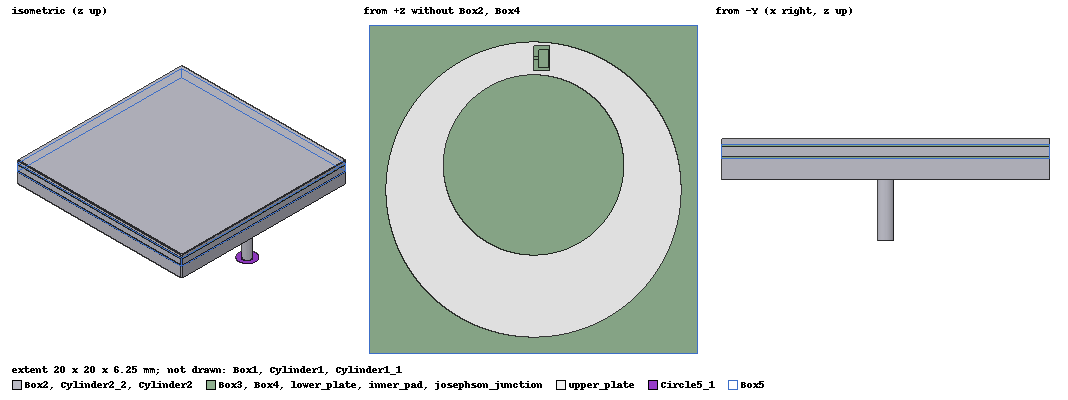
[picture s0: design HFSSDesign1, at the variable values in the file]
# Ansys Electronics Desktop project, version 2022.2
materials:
  vacuum: permittivity=1
  perfect conductor: conductivity=1e+30
  sapphire: permittivity=10
  aluminum: permeability=1.000021 conductivity=38000000
  gallium_arsenide: permittivity=12.9
  alumina_92pct: permittivity=9.2 dielectric_loss_tangent=0.008

design HFSSDesign1 (HFSS, Eigenmode, model units mm)
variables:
  pad_x = 20mm
  pad_y = 20mm
  pad_z = 10mm
  radius1 = 9mm
  epsilon = 0.5mm
  offset = 0.5mm
  rect_x = 1mm
  radius2 = 5.5mm
  shift = 1.5mm
  offset_rect_pad = 0.2mm
  jj_y = 0.2mm
  Lj = 10nH
  radius3 = 1mm
  height = 3.75mm
  radius4 = 0.5mm
  offset_z = -0.1mm
  Cj = 5pF
  delta = 0.1mm
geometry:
  Box1 [vacuum] = box(corner=(-pad_x/2, -pad_y/2, -pad_z/2), size=(pad_x + delta, pad_y + delta, pad_z + delta))
  Box2 [perfect conductor] = box(corner=(-pad_x/2, -pad_y/2, -pad_z/8), size=(pad_x, pad_y, pad_z/4))
  upper_plate [alumina_92pct] = circle(normal=Z, centre=(0mm, 0mm, pad_z/8-epsilon), radius=radius1)
  Circle2 = circle(normal=Z, centre=(0mm, shift, pad_z/8-epsilon), radius=radius2)
  upper_plate.subtract(Circle2)
  Rectangle1 = rectangle(corner=(0, radius2 + shift + offset /2, pad_z/8-epsilon), x_size=rect_x, y_size=radius1-radius2-shift-offset)
  upper_plate.subtract(Rectangle1)
  Box3 [sapphire] = box(corner=(-pad_x/2, -pad_y/2, pad_z/16 - epsilon - epsilon/4), size=(pad_x, pad_y, epsilon/4))
  lower_plate [alumina_92pct] = circle(normal=Z, centre=(0mm, 0mm, (pad_z/16-epsilon)), radius=radius1)
  Circle4 = circle(normal=Z, centre=(0mm, shift, (pad_z/16-epsilon)), radius=radius2)
  lower_plate.subtract(Circle4)
  inner_pad [alumina_92pct] = rectangle(corner=(rect_x /2- offset_rect_pad, radius2 + shift + offset /2 + offset_rect_pad, pad_z/8-epsilon), x_size=rect_x - offset_rect_pad*2, y_size=radius1-radius2-shift-offset - offset_rect_pad*2)
  josephson_junction [gallium_arsenide] = rectangle(corner=(rect_x /2- offset_rect_pad, radius2 + shift + offset /2 + offset_rect_pad  +(radius1-radius2-shift-offset - offset_rect_pad*2)/2 - jj_y /2, pad_z/8-epsilon), x_size=-offset_rect_pad - offset_rect_pad/2, y_size=jj_y)
  Box4 [sapphire] = box(corner=(-pad_x/2, -pad_y/2, pad_z/16+epsilon/4), size=(pad_x, pad_y, epsilon/4))
  Box5 [vacuum] = box(corner=(-pad_x/2, -pad_y/2, pad_z/16 - epsilon - epsilon/4), size=(pad_x, pad_y, 7*epsilon/4))
  Cylinder1 [vacuum] = cylinder(axis=Z, base_centre=(0, -pad_y/4, -pad_z/2), radius=radius3, height=height)
  Cylinder2 [perfect conductor] = cylinder(axis=Z, base_centre=(0mm, -pad_y/4, -pad_z/2), radius=radius4, height=height)
  Cylinder2_1 = Cylinder2.copy()
  Cylinder1.subtract(Cylinder2_1)
  Cylinder1_1 [vacuum] = Cylinder1.duplicate_along_line(step=(0mm, 13mm, 0mm), total=2)
  Cylinder2_2 [perfect conductor] = Cylinder2.duplicate_along_line(step=(0mm, 13mm, 0mm), total=2)
  Circle5 = circle(normal=Z, centre=(0mm, -pad_y/4, -pad_z/2), radius=radius3)
  Circle6 = circle(normal=Z, centre=(0mm, -pad_y/4, -pad_z/2), radius=radius4)
  Circle5.subtract(Circle6)
  Polyline1 = polyline((rect_x /2- offset_rect_pad, radius2 + shift + offset /2 + offset_rect_pad  +(radius1-radius2-shift-offset - offset_rect_pad*2)/2 + jj_y /16, pad_z/8-epsilon) (rect_x /2- offset_rect_pad  + (-offset_rect_pad - offset_rect_pad/2), radius2 + shift + offset /2 + offset_rect_pad  +(radius1-radius2-shift-offset - offset_rect_pad*2)/2 + jj_y /16, pad_z/8-epsilon))
  [josephson_junction, inner_pad, upper_plate, lower_plate].thicken(0.01mm)
  Circle5_1 = Circle5.duplicate_along_line(step=(0mm, 13mm, 0mm), total=2)
  Box2_1 = Box2.copy()
  Box1.subtract(Box2_1)
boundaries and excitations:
  PerfE1: Perfect E Objects=upper_plate
  PerfE2: Perfect E Objects=inner_pad
  PerfE3: Perfect E Objects=lower_plate
  LumpRLC3: Lumped RLC Objects=Circle5 CurrentLine{(-150mm, -5480mm, -5000mm) -> (-200mm, -5970mm, -5000mm)} RLC_Type=Parallel Resistance=50ohm
  LumpRLC4: Lumped RLC Objects=josephson_junction CurrentLine{(0, 8.0125, 0.75) -> (0.3, 8.0125, 0.75)} RLC_Type=Parallel Inductance=Lj Capacitance=Cj
  LumpRLC5: Lumped RLC Objects=Circle5_1 CurrentLine{(-150mm, 7520mm, -5000mm) -> (-200mm, 7030mm, -5000mm)} RLC_Type=Parallel Resistance=50ohm
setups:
  Setup1: HfssEigen MinimumFrequency=7.5GHz NumModes=3 MaxDeltaFreq=1 ConvergeOnRealFreq=true MaximumPasses=10 MinimumPasses=1 MinimumConvergedPasses=1 PercentRefinement=30 BasisOrder=1
  Setup2: HfssEigen MinimumFrequency=7.5GHz NumModes=1 MaxDeltaFreq=10 ConvergeOnRealFreq=false MaximumPasses=10 MinimumPasses=1 MinimumConvergedPasses=1 PercentRefinement=30 BasisOrder=1
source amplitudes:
  #-10:1, #-10:2: 0 0
  #-10:3: 1 0
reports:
  Freq. vs. pass: re(Mode(1)), re(Mode(2)), re(Mode(3)) vs Pass on Setup1 : AdaptivePass [Cj=0pF delta=0.1mm epsilon=0.5mm height=3.75mm jj_y=0.2mm Lj=10nH offset=0.5mm offset_rect_pad=0.2mm offset_z=-0.1mm pad_x=20mm pad_y=20mm pad_z=10mm radius1=9mm radius2=5.5mm radius3=1mm radius4=0.5mm rect_x=1mm shift=1.5mm]
